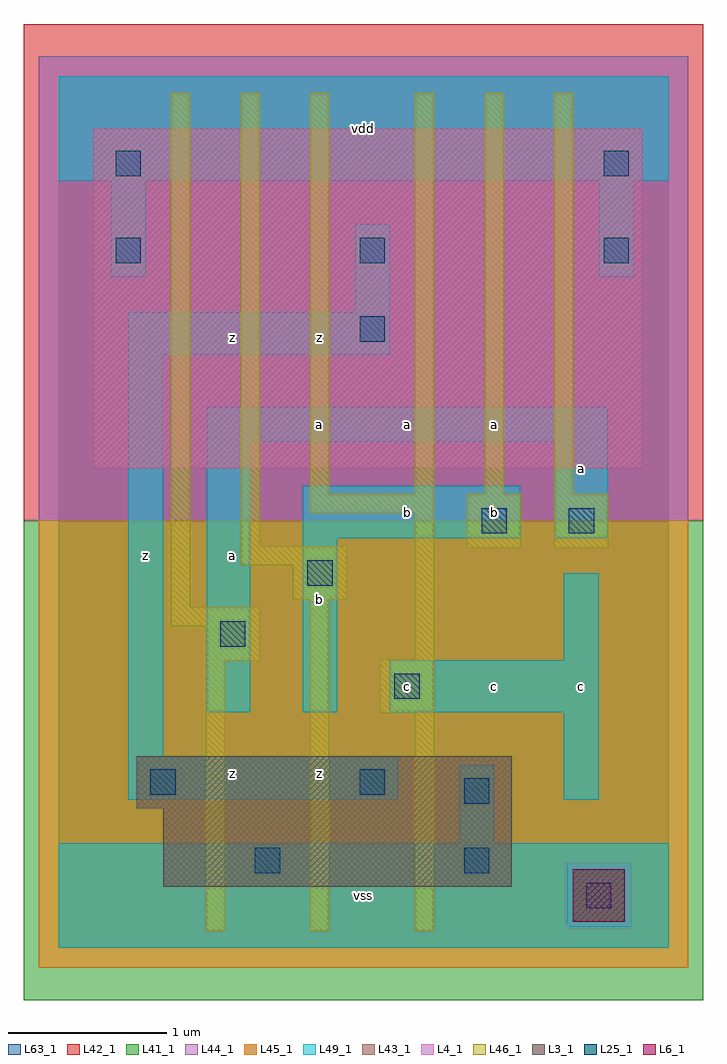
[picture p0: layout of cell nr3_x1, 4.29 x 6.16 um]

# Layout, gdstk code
import gdstk
lib = gdstk.Library(unit=1e-6, precision=1e-09)
def R(c, l, rs):  # rectangles x0, y0, x1, y1
    for r in rs: c.add(gdstk.rectangle(r[:2], r[2:], *l))
def A(c, l, x, y, w, h, nx, ny, dx, dy):  # array of equal rectangles
    R(c, l, [(x+i*dx, y+j*dy, x+i*dx+w, y+j*dy+h) for i in range(nx) for j in range(ny)])
L3_1 = (3, 1)
L4_1 = (4, 1)
L6_1 = (6, 1)
L25_1 = (25, 1)
L41_1 = (41, 1)
L42_1 = (42, 1)
L43_1 = (43, 1)
L44_1 = (44, 1)
L45_1 = (45, 1)
L46_1 = (46, 1)
L49_1 = (49, 1)
L63_1 = (63, 1)

nr3_x1 = lib.new_cell('nr3_x1')
R(nr3_x1, L3_1, [(0.66,0.385,2.86,0.88), (0.495,0.88,2.86,1.21)])
R(nr3_x1, L4_1, [(0.22,3.025,3.685,5.17)])
R(nr3_x1, L6_1, [(3.245,0.165,3.575,0.495)])
A(nr3_x1, L25_1, 0.36, 4.32, 0.16, 0.16, 3, 1, 1.54, 0)
R(nr3_x1, L25_1, [(3.33,0.25,3.49,0.41), (1.24,0.47,1.4,0.63), (2.56,0.47,2.72,0.63), (2.56,0.91,2.72,1.07), (0.58,0.965,0.74,1.125), (1.9,0.965,2.06,1.125), (2.12,1.57,2.28,1.73), (1.02,1.9,1.18,2.06), (1.57,2.285,1.73,2.445), (2.67,2.615,2.83,2.775), (3.22,2.615,3.38,2.775), (1.9,3.825,2.06,3.985), (0.36,4.87,0.52,5.03), (3.44,4.87,3.6,5.03)])
R(nr3_x1, L41_1, [(-0.22,-0.33,4.07,2.695)])
R(nr3_x1, L42_1, [(-0.22,2.695,4.07,5.83)])
R(nr3_x1, L43_1, [(3.245,0.165,3.575,0.495), (0.66,0.385,2.86,0.88), (0.495,0.88,2.86,1.21), (0.22,3.025,3.685,5.17)])
R(nr3_x1, L44_1, [(3.205,0.125,3.615,0.535), (-0.125,2.695,3.975,5.625)])
R(nr3_x1, L45_1, [(-0.125,-0.125,3.975,0.125), (-0.125,0.125,3.205,0.535), (3.615,0.125,3.975,0.535), (-0.125,0.535,3.975,2.695)])
A(nr3_x1, L46_1, 2.25, 2.865, 0.12, 2.53, 3, 1, 0.44, 0)
R(nr3_x1, L46_1, [(0.93,0.105,1.05,1.81), (1.59,0.105,1.71,2.195), (2.25,0.105,2.37,1.48), (2.03,1.48,2.37,1.82), (0.93,1.81,1.27,2.03), (2.25,1.82,2.37,2.745), (0.71,2.03,1.27,2.15), (0.71,2.15,0.83,5.395), (1.48,2.195,1.82,2.415), (1.15,2.415,1.82,2.535), (2.58,2.525,2.92,2.865), (3.13,2.525,3.47,2.865), (1.15,2.535,1.27,5.395), (1.59,2.745,2.37,2.865), (1.59,2.865,1.71,5.395)])
R(nr3_x1, L49_1, [(0,0,3.85,0.66), (2.53,0.66,2.75,1.155), (0.44,0.935,2.145,1.21), (3.19,0.935,3.41,1.485), (0.44,1.21,0.66,3.74), (0.935,1.485,1.21,3.19), (1.54,1.485,1.76,2.585), (2.09,1.485,3.41,1.815), (3.19,1.815,3.41,2.365), (1.54,2.585,2.915,2.915), (3.135,2.585,3.465,3.19), (0.935,3.19,3.465,3.41), (0.44,3.74,2.09,4.015), (1.87,4.015,2.09,4.565), (0.33,4.235,0.55,4.84), (3.41,4.235,3.63,4.84), (0,4.84,3.85,5.5)])
R(nr3_x1, L63_1, [(0,0,3.85,5.5)])
nr3_x1.add(gdstk.Label('z', (1.1,1.1), layer=49, texttype=1))
nr3_x1.add(gdstk.Label('z', (1.1,1.1), layer=49, texttype=1))
nr3_x1.add(gdstk.Label('z', (0.55,2.475), layer=49, texttype=1))
nr3_x1.add(gdstk.Label('z', (0.55,2.475), layer=49, texttype=1))
nr3_x1.add(gdstk.Label('a', (1.1,2.475), layer=49, texttype=1))
nr3_x1.add(gdstk.Label('a', (1.1,2.475), layer=49, texttype=1))
nr3_x1.add(gdstk.Label('z', (1.1,3.85), layer=49, texttype=1))
nr3_x1.add(gdstk.Label('z', (1.1,3.85), layer=49, texttype=1))
nr3_x1.add(gdstk.Label('vss', (1.925,0.33), layer=49, texttype=1))
nr3_x1.add(gdstk.Label('vss', (1.925,0.33), layer=49, texttype=1))
nr3_x1.add(gdstk.Label('z', (1.65,1.1), layer=49, texttype=1))
nr3_x1.add(gdstk.Label('z', (1.65,1.1), layer=49, texttype=1))
nr3_x1.add(gdstk.Label('b', (1.65,2.2), layer=49, texttype=1))
nr3_x1.add(gdstk.Label('b', (1.65,2.2), layer=49, texttype=1))
nr3_x1.add(gdstk.Label('a', (1.65,3.3), layer=49, texttype=1))
nr3_x1.add(gdstk.Label('a', (1.65,3.3), layer=49, texttype=1))
nr3_x1.add(gdstk.Label('z', (1.65,3.85), layer=49, texttype=1))
nr3_x1.add(gdstk.Label('z', (1.65,3.85), layer=49, texttype=1))
nr3_x1.add(gdstk.Label('vdd', (1.925,5.17), layer=49, texttype=1))
nr3_x1.add(gdstk.Label('vdd', (1.925,5.17), layer=49, texttype=1))
nr3_x1.add(gdstk.Label('c', (2.2,1.65), layer=49, texttype=1))
nr3_x1.add(gdstk.Label('c', (2.2,1.65), layer=49, texttype=1))
nr3_x1.add(gdstk.Label('c', (2.75,1.65), layer=49, texttype=1))
nr3_x1.add(gdstk.Label('c', (2.75,1.65), layer=49, texttype=1))
nr3_x1.add(gdstk.Label('b', (2.2,2.75), layer=49, texttype=1))
nr3_x1.add(gdstk.Label('b', (2.2,2.75), layer=49, texttype=1))
nr3_x1.add(gdstk.Label('b', (2.75,2.75), layer=49, texttype=1))
nr3_x1.add(gdstk.Label('b', (2.75,2.75), layer=49, texttype=1))
nr3_x1.add(gdstk.Label('a', (2.75,3.3), layer=49, texttype=1))
nr3_x1.add(gdstk.Label('a', (2.75,3.3), layer=49, texttype=1))
nr3_x1.add(gdstk.Label('a', (2.2,3.3), layer=49, texttype=1))
nr3_x1.add(gdstk.Label('a', (2.2,3.3), layer=49, texttype=1))
nr3_x1.add(gdstk.Label('c', (3.3,1.65), layer=49, texttype=1))
nr3_x1.add(gdstk.Label('c', (3.3,1.65), layer=49, texttype=1))
nr3_x1.add(gdstk.Label('a', (3.3,3.025), layer=49, texttype=1))
nr3_x1.add(gdstk.Label('a', (3.3,3.025), layer=49, texttype=1))

lib.write_gds('nr3_x1.gds')
